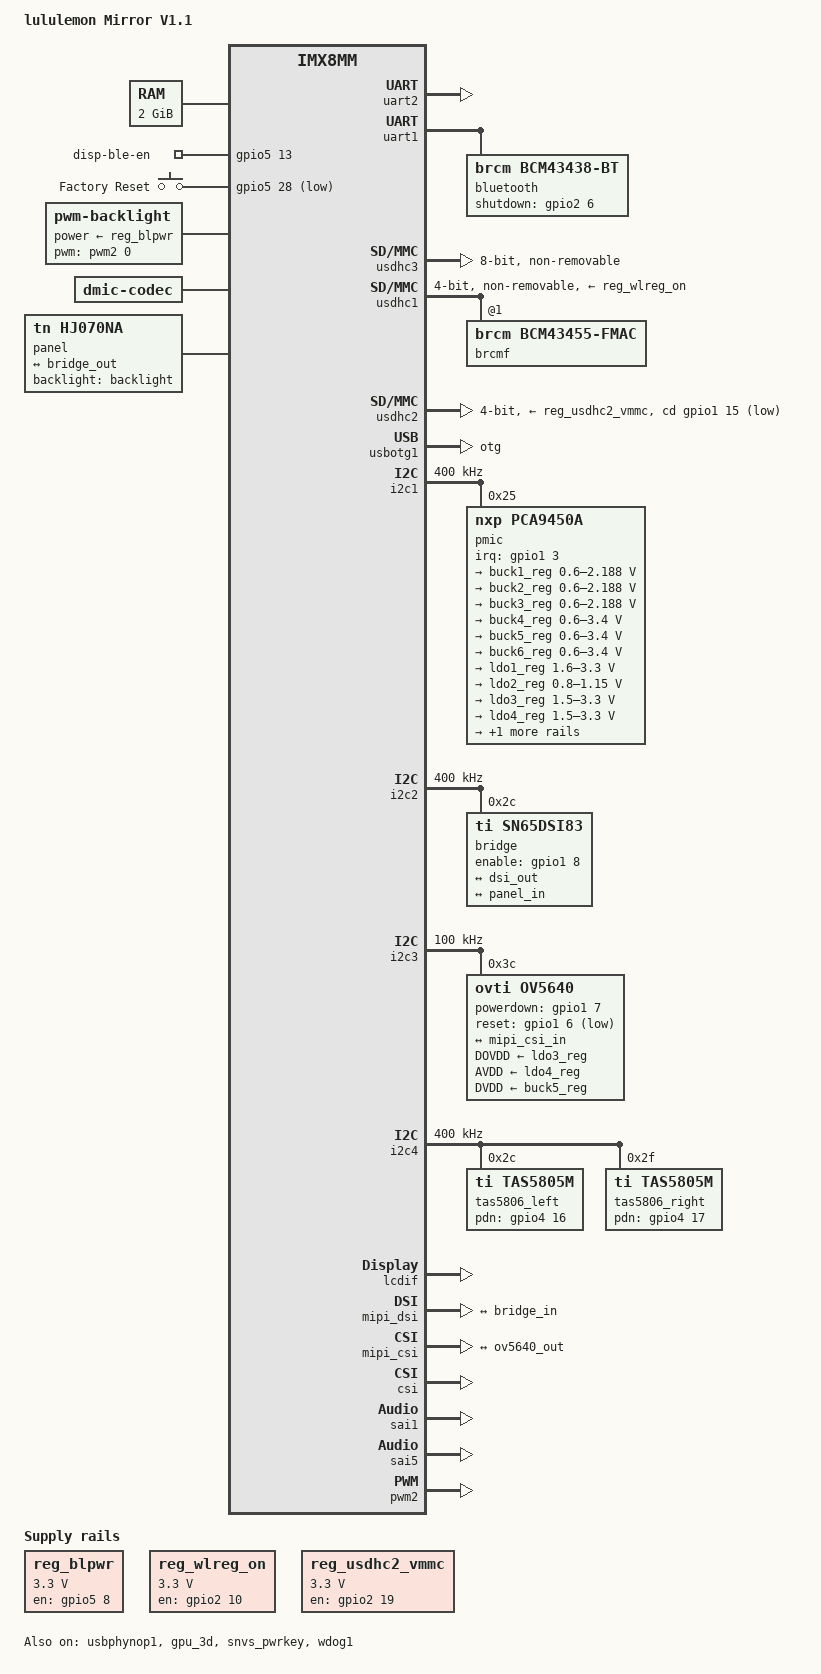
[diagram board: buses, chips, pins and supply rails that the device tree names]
// SPDX-License-Identifier: (GPL-2.0+ OR MIT)
/*
 * lululemon Mirror V1.1 (i.MX 8M Mini "Mirror V1.1 EVT rev A0B")
 *
 * Ported from OUR unit's stock device tree (work/B2_our_dts/our_dtbo_a.dts,
 * byte-identical decode of dtbo_a) to MAINLINE bindings — per work/B4_our_dt_map.md.
 * All GPIO numbers below are HARDWARE bank names (B4 header note):
 *   gpio@30200000=GPIO1 .. gpio@30240000=GPIO5.
 *
 * Provenance tags:
 *   [B4]        = value from our own decoded DT (source of truth)
 *   BORROWED    = standard/mainline value B4 lacks — VERIFY AT FIRST BOOT
 *
 * Deliberately NOT ported (mainline driver computes them or binding lacks them):
 *   - SN65DSI84 43-register init table (sn65dsi84,addresses/values, our_dtbo_a.dts
 *     L1323-1324): the mainline ti-sn65dsi83 driver derives its register setup
 *     from the panel timings; the binding (ti,sn65dsi83.yaml) has no reg-table
 *     property. Table preserved in B4 for bench comparison if the panel misbehaves.
 *   - PCA9450 buck2 I2C-DVS props (pca9450,pmic-buck2-*): vendor-only, no mainline
 *     binding equivalent.
 *   - TAS5806 fault-gpios/IRQ/codec-mclk: mainline ti,tas5805m binding is
 *     i2c + #sound-dai-cells only; amp enables carried as fixed regulators below.
 *   - FEC: node left disabled — board has no PHY (B4 §14, dead RJ45).
 */

/dts-v1/;

#include <dt-bindings/clock/imx8mm-clock.h>
#include <dt-bindings/gpio/gpio.h>
#include <dt-bindings/input/input.h>
#include <dt-bindings/leds/common.h>
#include <dt-bindings/pwm/pwm.h>
#include "imx8mm.dtsi"

/ {
	model = "lululemon Mirror V1.1";
	compatible = "lululemon,mirror-v1.1", "fsl,imx8mm";

	/* B4 §16: memory@40000000 2 GiB */
	memory@40000000 {
		device_type = "memory";
		reg = <0x0 0x40000000 0 0x80000000>;
	};

	chosen {
		/* B4 §1: console = ttymxc1 (UART2 @0x30890000). aliases serial1 = &uart2 */
		stdout-path = "serial1:115200n8";
	};

	/* B4 §7: DISP_BLE_EN LED GPIO5_IO13 active-high, default on */
	leds {
		compatible = "gpio-leds";
		pinctrl-names = "default";
		pinctrl-0 = <&pinctrl_gpio_led>;

		led-ble-en {
			label = "disp-ble-en";
			gpios = <&gpio5 13 GPIO_ACTIVE_HIGH>;
			default-state = "on";
		};
	};

	/* B4 §11: Factory-Reset key GPIO5_IO28 active-low, code 121 (0x79), 50 ms */
	gpio-keys {
		compatible = "gpio-keys";
		pinctrl-names = "default";
		pinctrl-0 = <&pinctrl_factory_reset>;

		key-factory-reset {
			label = "Factory Reset";
			gpios = <&gpio5 28 GPIO_ACTIVE_LOW>;
			linux,code = <KEY_F10>;	/* 121 — B4: vendor code 0x79 */
			debounce-interval = <50>;
		};
	};

	/* B4 §7: backlight power rail GPIO5_IO08 active-high, 3.3 V */
	reg_blpwr: regulator-blpwr {
		compatible = "regulator-fixed";
		pinctrl-names = "default";
		pinctrl-0 = <&pinctrl_backlight_pwr>;
		regulator-name = "backlight_pwr";
		regulator-min-microvolt = <3300000>;
		regulator-max-microvolt = <3300000>;
		gpio = <&gpio5 8 GPIO_ACTIVE_HIGH>;
		enable-active-high;
	};

	/* B4 §7: PWM2 backlight, 1 kHz period (pwms cell 3 = PWM_POLARITY_INVERTED
	 * in vendor tuple 0x01) — vendor: pwms = <pwm2 0 1000000 1> */
	backlight: backlight {
		compatible = "pwm-backlight";
		pwms = <&pwm2 0 1000000 PWM_POLARITY_INVERTED>;
		brightness-levels = <0 1 2 3 4 5 6 7 8 9 10 11 12 13 14 15 16
				     17 18 19 20 21 22 23 24 25 26 27 28 29 30 31
				     32 33 34 35 36 37 38 39 40 41 42 43 44 45 46 47
				     48 49 50 51 52 53 54 55 56 57 58 59 60 61 62 63
				     64 65 66 67 68 69 70 71 72 73 74 75 76 77 78 79
				     80 81 82 83 84 85 86 87 88 89 90 91 92 93 94 95
				     96 97 98 99 100>;
		/* B4 §7: vendor default level 0x50 = 80 */
		default-brightness-level = <80>;
		power-supply = <&reg_blpwr>;
		status = "okay";
	};

	/* B4 §5: WL_REG_ON GPIO2_IO10 active-high 1.8 V, off-on-delay 0x4e20 = 20 ms */
	reg_wlreg_on: regulator-wlreg-on {
		compatible = "regulator-fixed";
		pinctrl-names = "default";
		pinctrl-0 = <&pinctrl_wlreg_on>;
		regulator-name = "wlreg_on";
		regulator-min-microvolt = <3300000>; /* BENCH-D6b: CYW43455 SDIO needs 3V3 signaling */
		regulator-max-microvolt = <3300000>;
		gpio = <&gpio2 10 GPIO_ACTIVE_HIGH>;
		enable-active-high;
		off-on-delay-us = <20000>;
	};

	/* B4 §6: VSD_3V3 GPIO2_IO19 active-high, off-on-delay-us 0x4e20 = 20 ms */
	reg_usdhc2_vmmc: regulator-vsd-3v3 {
		compatible = "regulator-fixed";
		pinctrl-names = "default";
		pinctrl-0 = <&pinctrl_usdhc2_vmmc>;
		regulator-name = "VSD_3V3";
		regulator-min-microvolt = <3300000>;
		regulator-max-microvolt = <3300000>;
		gpio = <&gpio2 19 GPIO_ACTIVE_HIGH>;
		enable-active-high;
		off-on-delay-us = <20000>;
	};

	/* B4 §8: DMIC on SAI5 — model as a generic DMIC DAI for the capture link */
	dmic: dmic-codec {
		compatible = "dmic-codec";
		#sound-dai-cells = <0>;
	};

	/*
	 * B4 §8: "sound-tas5806" card — cpu SAI1 (mclk 49.152 MHz), codecs both
	 * TAS5806 amps, mic on SAI5 async. Mainline choice: fsl,imx-audio-card
	 * (SND_SOC_IMX_CARD / sound/soc/fsl/imx-card.c) — it is the mainline
	 * descendant of NXP's tas5806/imx card family and supports multi-codec
	 * dai-links + routing; simple-card lacks the cpu/codec-subnode link style.
	 */
	sound-tas5806 {
		compatible = "fsl,imx-audio-card";
		model = "tas5806-audio";

		/* BENCH-D4b: NXP legacy routing dropped - mainline tas5805m
		 * widgets are DAC IN/DAC/OUT; vendor names SPKOUTL etc dont exist. */

		pri-dai-link {
			link-name = "tas5806-playback";
			format = "i2s";
			/* D4 fix: 2-slot TDM, 16-bit slot width (vendor-exact — their
			 * DSP program configures the amp serial port for 16-bit
			 * slots; codec driver now accepts S16 too). */
			dai-tdm-slot-num = <2>;
			dai-tdm-slot-width = <16>;
			cpu {
				sound-dai = <&sai1>;
			};
			codec {
				sound-dai = <&tas5806_left>, <&tas5806_right>;
			};
		};

		mic-dai-link {
			link-name = "dmic-capture";
			format = "i2s";
			capture-only;
			cpu {
				sound-dai = <&sai5>;
			};
			codec {
				sound-dai = <&dmic>;
			};
		};
	};

	/* TODO (Phase 2 bench): BT SCO card on SAI2 (B4 §8: sound-bt-sco,
	 * cpu sai@30020000, i2s, bitclock-master = codec side, TDM 2x16).
	 * Left out of this build: bt-sco codec wiring is only useful once the
	 * CYW43455 HCI link is up; enable with a simple-audio-card node then. */

	/* TODO (Phase 2 bench): touch IC — Novatek NT11003 (B4 §12 / B3
	 * vendor usr/idc/Novatek_NT11003_Touch_Screen.idc). NO DT node exists in
	 * the vendor tree and NO I2C address is known — DO NOT GUESS. Plan: probe
	 * I2C1-4 live from the stock U-Boot shell / first Linux boot, then add:
	 *
	 * touchscreen@XX {
	 *     compatible = "novatek,nt11003";
	 *     reg = <0xXX>;
	 *     interrupts = <&gpio1 9 IRQ_TYPE_EDGE_FALLING>;	// GPIO1_IO09 pad (synaptics_dsx_iogrp)
	 * };
	 */

	reserved-memory {
		#address-cells = <2>;
		#size-cells = <2>;
		/* 2026-10-31: mandatory empty ranges. Without it the kernel rejected
		 * this WHOLE node ("Reserved memory: unsupported node format,
		 * ignoring"): rpmsg + U-Boot OP-TEE no-map regions were not honoured
		 * and the 128 MiB CMA below was inert (video output could not
		 * allocate scan-out buffers from the 32 MiB default pool). */
		ranges;
		/* B4 §16: rpmsg@b8000000 4 MiB (kept even though rpmsg is unused —
		 * Trusty/TEE is not loaded in our chain, but reserve to be safe) */
		rpmsg_reserved: rpmsg@b8000000 {
			no-map;
			reg = <0 0xb8000000 0 0x400000>;
		};

		/* D10 camera hub (2026-10-31): default CMA 32 MiB -> 128 MiB. 1080p
		 * capture left ~2 MiB free (5 MP failed outright). "reusable" =
		 * movable pages (normal/ML memory) may use it when idle. */
		linux,cma {
			compatible = "shared-dma-pool";
			reusable;
			size = <0 0x8000000>;
			linux,cma-default;
		};
	};
};

/* Console — B4 §1: UART2, no rtscts, no DMA */
&uart2 {
	pinctrl-names = "default";
	pinctrl-0 = <&pinctrl_uart2>;
	status = "okay";
};

/* B4 §2: UART1 = BT HCI /dev/ttymxc0, RTS/CTS on UART3 pads, BT_REG_ON
 * GPIO2_IO06 active-low (reset 2 ms + 40 ms post). Mainline: hci-bcm serdev. */
&uart1 {
	pinctrl-names = "default";
	pinctrl-0 = <&pinctrl_uart1>;
	uart-has-rtscts;
	status = "okay";
	/* D7 fix (vendor dtbo serial@30860000): re-parent UART1 root clock to
	 * SYS_PLL1_80M (imx8mm-clock.h id 49; default OSC_24M parent cannot
	 * cleanly divide to 3 Mbaud for the BCM4345C0). */
	assigned-clocks = <&clk IMX8MM_CLK_UART1>;	/* the mux; _ROOT is only a gate */
	assigned-clock-parents = <&clk IMX8MM_SYS_PLL1_80M>;

	bluetooth {
		/* CYW43455 = BCM4345C0 chip (B3 patchram
		 * BCM4345C0_003.001.025.0172.0000_Murata_1MW_Arrow.hcd) */
		compatible = "brcm,bcm43438-bt";
		/* BT_REG_ON: high = chip on. hci_bcm drives logical 1 to power on; the
		 * vendor rfkill driver ignored the DT's active-low flag and drove it raw. */
		shutdown-gpios = <&gpio2 6 GPIO_ACTIVE_HIGH>;
		max-speed = <3000000>;
		/* BORROWED (brcm,bcm43438-bt generic + max-speed) — VERIFY AT FIRST BOOT;
		 * hci_bcm loads the .hcd via /lib/firmware/brcm/BCM4345C0.hcd naming */
	};
};

/* B4 §4: eMMC on usdhc3 (mmc dev 2), 14.6 GiB, 8-bit */
&usdhc3 {
	pinctrl-names = "default", "state_100mhz", "state_200mhz";
	pinctrl-0 = <&pinctrl_usdhc3>;
	pinctrl-1 = <&pinctrl_usdhc3_100mhz>;
	pinctrl-2 = <&pinctrl_usdhc3_200mhz>;
	bus-width = <8>;
	non-removable;
	status = "okay";
};

/* B4 §5: WiFi SDIO on usdhc1, CYW43455 (brcmfmac, modular), WL_REG_ON GPIO2_IO10 */
&usdhc1 {
	#address-cells = <1>;
	#size-cells = <0>;
	pinctrl-names = "default", "state_100mhz", "state_200mhz";
	/* BENCH-D6 FIX: wlreg_on removed from usdhc1 - regulator owns the pad */
	pinctrl-0 = <&pinctrl_usdhc1>;
	pinctrl-1 = <&pinctrl_usdhc1_100mhz>;
	pinctrl-2 = <&pinctrl_usdhc1_200mhz>;
	bus-width = <4>;
	non-removable;
	keep-power-in-suspend;
	vmmc-supply = <&reg_wlreg_on>;
	status = "okay";

	brcmf: wifi@1 {
		reg = <1>;
		compatible = "brcm,bcm43455-fmac", "brcm,bcm4329-fmac";
	};
};

/* B4 §6: SD slot on usdhc2, CD GPIO1_IO15 active-low, VSD_3V3 */
&usdhc2 {
	pinctrl-names = "default", "state_100mhz", "state_200mhz";
	pinctrl-0 = <&pinctrl_usdhc2>;
	pinctrl-1 = <&pinctrl_usdhc2_100mhz>;
	pinctrl-2 = <&pinctrl_usdhc2_200mhz>;
	cd-gpios = <&gpio1 15 GPIO_ACTIVE_LOW>;
	vmmc-supply = <&reg_usdhc2_vmmc>;
	bus-width = <4>;
	no-sdio;
	no-mmc;
	status = "okay";
};

/* B4 §13: OTG1 = micro-USB J3 (ADB/ums port) */
&usbotg1 {
	dr_mode = "otg";
	hnp-disable;
	srp-disable;
	adp-disable;
	disable-over-current;
	status = "okay";
};

&usbphynop1 {
	wakeup-source;
	status = "okay";
};

/* B4 §10: PMIC PCA9450 on I2C1 @0x25 */
&i2c1 {
	clock-frequency = <400000>;
	pinctrl-names = "default";
	pinctrl-0 = <&pinctrl_i2c1>;
	status = "okay";

	pmic: pmic@25 {
		/* Variant suffix unverified (vendor DT says only "nxp,pca9450");
		 * 8M Mini EVK ships pca9450a — BORROWED, VERIFY AT FIRST BOOT. */
		compatible = "nxp,pca9450a";
		reg = <0x25>;
		pinctrl-names = "default";
		pinctrl-0 = <&pinctrl_pmic>;
		interrupt-parent = <&gpio1>;
		interrupts = <3 IRQ_TYPE_LEVEL_LOW>;	/* B4 §10: GPIO1_IO03 */

		regulators {
			/* Ranges are OUR unit's (B4 §10, our_dtbo_a.dts L1200-1298):
			 * buck1-3: 0.6-2.1875 V, buck4-6: 0.6-3.4 V, ldo1: 1.6-3.3 V,
			 * ldo2: max 1.15 V, ldo3/4: max 3.3 V (vendor min cells decode
			 * empty — standard 1.5 V used: BORROWED), ldo5: 1.8-3.3 V. */
			buck1_reg: BUCK1 {
				regulator-name = "BUCK1";
				regulator-min-microvolt = <600000>;
				regulator-max-microvolt = <2187500>;
				regulator-boot-on;
				regulator-always-on;
				regulator-ramp-delay = <3125>;	/* vendor 0xc35 */
			};

			buck2_reg: BUCK2 {	/* VDD_ARM, I2C-DVS'd in vendor */
				regulator-name = "BUCK2";
				regulator-min-microvolt = <600000>;
				regulator-max-microvolt = <2187500>;
				regulator-boot-on;
				regulator-always-on;
				regulator-ramp-delay = <3125>;
			};

			buck3_reg: BUCK3 {
				regulator-name = "BUCK3";
				regulator-min-microvolt = <600000>;
				regulator-max-microvolt = <2187500>;
				regulator-boot-on;
				regulator-always-on;
			};

			buck4_reg: BUCK4 {
				regulator-name = "BUCK4";
				regulator-min-microvolt = <600000>;
				regulator-max-microvolt = <3400000>;
				regulator-boot-on;
				regulator-always-on;
			};

			buck5_reg: BUCK5 {
				regulator-name = "BUCK5";
				regulator-min-microvolt = <600000>;
				regulator-max-microvolt = <3400000>;
				regulator-boot-on;
				regulator-always-on;
			};

			buck6_reg: BUCK6 {
				regulator-name = "BUCK6";
				regulator-min-microvolt = <600000>;
				regulator-max-microvolt = <3400000>;
				regulator-boot-on;
				regulator-always-on;
			};

			ldo1_reg: LDO1 {
				regulator-name = "LDO1";
				regulator-min-microvolt = <1600000>;
				regulator-max-microvolt = <3300000>;
				regulator-boot-on;
				regulator-always-on;
			};

			ldo2_reg: LDO2 {
				regulator-name = "LDO2";
				regulator-min-microvolt = <800000>;	/* BORROWED min */
				regulator-max-microvolt = <1150000>;
				regulator-boot-on;
				regulator-always-on;
			};

			ldo3_reg: LDO3 {
				regulator-name = "LDO3";
				regulator-min-microvolt = <1500000>;	/* BORROWED min */
				regulator-max-microvolt = <3300000>;
				regulator-boot-on;
				regulator-always-on;
			};

			ldo4_reg: LDO4 {
				regulator-name = "LDO4";
				regulator-min-microvolt = <1500000>;	/* BORROWED min */
				regulator-max-microvolt = <3300000>;
				regulator-boot-on;
				regulator-always-on;
			};

			ldo5_reg: LDO5 {
				regulator-name = "LDO5";
				regulator-min-microvolt = <3300000>; /* BENCH-D6b: CYW43455 SDIO needs 3V3 signaling */
				regulator-max-microvolt = <3300000>;
			};
		};
	};
};

/* B4 §7: SN65DSI84 DSI→LVDS bridge on I2C2 @0x2c, enable GPIO1_IO08 */
&i2c2 {
	clock-frequency = <400000>;
	pinctrl-names = "default";
	pinctrl-0 = <&pinctrl_i2c2>;
	status = "okay";

	bridge: bridge@2c {
		/* NOTE: mainline driver/binding use the sn65dsi83 compatible for
		 * the SN65DSI84 too (ti-sn65dsi83.c handles both). */
		compatible = "ti,sn65dsi83";
		reg = <0x2c>;
		pinctrl-names = "default";
		pinctrl-0 = <&pinctrl_mipi_dsi_en>;
		enable-gpios = <&gpio1 8 GPIO_ACTIVE_HIGH>;
		/* D3 fix: vendor LVDS output-stage override — panel only locks
		 * with the vendor dtbo register values (0x0b=0x28 etc.),
		 * see work/D3_vendor_bridge_table.md */
		ti,lvds-vendor-override;

		ports {
			#address-cells = <1>;
			#size-cells = <0>;

			port@0 {
				reg = <0>;

				bridge_in: endpoint {
					remote-endpoint = <&dsi_out>;
					data-lanes = <1 2 3 4>;	/* B4: 4 DSI lanes */
				};
			};

			port@2 {
				reg = <2>;

				bridge_out: endpoint {
					remote-endpoint = <&panel_in>;
				};
			};
		};
	};
};

/* B4 §9: OV5640 on I2C3 @0x3c (100 kHz bus) */
&i2c3 {
	clock-frequency = <100000>;
	pinctrl-names = "default";
	pinctrl-0 = <&pinctrl_i2c3>;
	status = "okay";

	ov5640: camera@3c {
		compatible = "ovti,ov5640";
		reg = <0x3c>;
		pinctrl-names = "default";
		pinctrl-0 = <&pinctrl_csi_pwn>, <&pinctrl_csi_rst>;
		/* B4 §9: MCLK 24 MHz routed out on GPIO1_IO01 pad
		 * (ANAMIX_REF_CLK_24M) — BORROWED xclk wiring, VERIFY */
		clocks = <&clk IMX8MM_CLK_24M>;
		clock-names = "xclk";
		powerdown-gpios = <&gpio1 7 GPIO_ACTIVE_HIGH>;	/* pwn GPIO1_IO07 */
		reset-gpios = <&gpio1 6 GPIO_ACTIVE_LOW>;	/* rst GPIO1_IO06 */
		DOVDD-supply = <&ldo3_reg>;	/* BORROWED rails — VERIFY */
		AVDD-supply = <&ldo4_reg>;
		DVDD-supply = <&buck5_reg>;

		port {
			ov5640_out: endpoint {
				remote-endpoint = <&mipi_csi_in>;
				clock-lanes = <0>;
				data-lanes = <1 2>;		/* B4: 2-lane CSI */
			};
		};
	};
};

/* B4 §8: 2x TAS5806M on I2C4 @0x2c/@0x2f */
&i2c4 {
	clock-frequency = <400000>;
	pinctrl-names = "default";
	pinctrl-0 = <&pinctrl_i2c4>;
	status = "okay";

	tas5806_left: amplifier@2c {
		compatible = "ti,tas5805m";
		reg = <0x2c>;
		#sound-dai-cells = <0>;
		/* B4 §8: enable GPIO4_IO16 active-high == PDN (active-low power-down).
		 * tas5805m.c drives pdn logical 0 (physical high = ON) at probe. */
		pdn-gpios = <&gpio4 16 GPIO_ACTIVE_HIGH>;
		/* D4 fix: vendor DSP table (tweeters, sha 510a1456...) — plain
		 * {reg,val} pairs + 0xfe delays; send_cfg default path handles. */
		ti,dsp-config-name = "tweeters";
	};

	tas5806_right: amplifier@2f {
		compatible = "ti,tas5805m";
		reg = <0x2f>;
		#sound-dai-cells = <0>;
		pdn-gpios = <&gpio4 17 GPIO_ACTIVE_HIGH>;
		/* D4 fix: vendor DSP table (woofers, sha 6a01cc29...) */
		ti,dsp-config-name = "woofers";
	};
};

/* B4 §7: display pipeline — lcdif → DSIM (4 lane) → SN65DSI84 → LVDS panel.
 * Dumb LVDS panel behind the bridge: panel-lvds with the vendor hj070na
 * timings (148.5 MHz 1920x1080@60). */
&lcdif {
	status = "okay";
};

&mipi_dsi {
	samsung,esc-clock-frequency = <20000000>;	/* BORROWED esc clock */
	status = "okay";

	ports {
		port@1 {
			reg = <1>;

			dsi_out: endpoint {
				remote-endpoint = <&bridge_in>;
				data-lanes = <1 2 3 4>;
			};
		};
	};
};

/* B4 §9: MIPI CSI-2 receiver (fsl,imx8mm-mipi-csi2) */
&mipi_csi {
	status = "okay";

	ports {
		port@0 {
			reg = <0>;

			mipi_csi_in: endpoint {
				remote-endpoint = <&ov5640_out>;
				data-lanes = <1 2>;
				/* B4: csis-hs-settle 0x0d, clk-settle 0x02 */
			};
		};
	};
};

&csi {
	status = "okay";
};

/* B4 §8: SAI1 = speaker I2S out, MCLK output pad muxed (49.152 MHz).
 * BENCH-D4c FIX (2026-10-31): vendor DT drove codec mclk at 49.152 MHz
 * (B4: MCLK 49.152 MHz on 0x2c assigned-clocks 0x16e1080-adjacent chain).
 * Mainline needs the rate chain on the SAI: audio_pll2 -> 786.432 MHz,
 * SAI1 root div -> 49.152 MHz. Without this MCLK ran from a wrong parent
 * and the TAS5806 DSP never clocked -> silence. */
&sai1 {
	pinctrl-names = "default";
	pinctrl-0 = <&pinctrl_sai1>;
	fsl,sai-mclk-direction-output;
	#sound-dai-cells = <0>;
	/* D4 fix (vendor dtbo sai@30010000): full clock spec — bus/mclk1-3
	 * from dtsi + pll8k/pll11k (AUDIO_PLL1_OUT/PLL2_OUT) so the driver
	 * can fsl_asoc_reparent_pll_clocks() the root to an audio PLL.
	 * Without these the root stays on osc_24m and BCLK derive fails
	 * (the -22 hw_params errors we chased all night). Vendor rates:
	 * SAI1 root 49.152 MHz (via reparent to pll_out). */
	clocks = <&clk IMX8MM_CLK_SAI1_IPG>, <&clk IMX8MM_CLK_DUMMY>,
		 <&clk IMX8MM_CLK_SAI1_ROOT>, <&clk IMX8MM_CLK_DUMMY>,
		 <&clk IMX8MM_CLK_DUMMY>,
		 <&clk IMX8MM_AUDIO_PLL1_OUT>, <&clk IMX8MM_AUDIO_PLL2_OUT>;
	clock-names = "bus", "mclk", "mclk1", "mclk2", "mclk3", "pll8k", "pll11k";
	fsl,dataline = <0x02 0xff 0xff 0x02 0xff 0xff>;
	assigned-clocks = <&clk IMX8MM_CLK_SAI1>;
	assigned-clock-parents = <&clk IMX8MM_AUDIO_PLL1_OUT>;
	assigned-clock-rates = <49152000>;
	status = "okay";
};

/* B4 §8: SAI5 = DMIC (asynchronous) */
&sai5 {
	pinctrl-names = "default";
	pinctrl-0 = <&pinctrl_sai5>;
	fsl,sai-asynchronous;
	#sound-dai-cells = <0>;
	/* D5 fix (vendor dtbo sai@30050000 VERBATIM — same as vendor Android):
	 * clocks: bus=SAI5_IPG, mclk0=dummy, mclk1=SAI5_ROOT, mclk2/3=dummy,
	 * pll8k=AUDIO_PLL1_OUT, pll11k=AUDIO_PLL2_OUT.
	 * dataline <0x00 0x0f 0x0f> = 1 rx line, mask 0xf.
	 * assigned: SAI5 root -> AUDIO_PLL1_OUT @ 49.152 MHz. */
	clocks = <&clk IMX8MM_CLK_SAI5_IPG>, <&clk IMX8MM_CLK_DUMMY>,
		 <&clk IMX8MM_CLK_SAI5_ROOT>, <&clk IMX8MM_CLK_DUMMY>,
		 <&clk IMX8MM_CLK_DUMMY>,
		 <&clk IMX8MM_AUDIO_PLL1_OUT>, <&clk IMX8MM_AUDIO_PLL2_OUT>;
	clock-names = "bus", "mclk0", "mclk1", "mclk2", "mclk3", "pll8k", "pll11k";
	fsl,dataline = <0x00 0x0f 0x0f>;
	/* D5 FIX (2026-10-31): MCR.MOE=1. With MOE=0 this SAI takes MCLK1
	 * from the (undriven) SAI5_MCLK pad -> RX clock generator never runs
	 * (RCSR WSF=0, no DMA, arecord EIO after 1.1x buffer time). Proven
	 * live by poking MCR bit30: frames + DMA + clean voice capture. */
	fsl,sai-mclk-direction-output;
	assigned-clocks = <&clk IMX8MM_CLK_SAI5>;
	assigned-clock-parents = <&clk IMX8MM_AUDIO_PLL1_OUT>;
	assigned-clock-rates = <49152000>;
	status = "okay";
};

/* B4 §8: SAI2 = BT SCO (pads muxed, card deferred — see TODO above) */
&sai2 {
	pinctrl-names = "default";
	pinctrl-0 = <&pinctrl_sai2>;
	#sound-dai-cells = <0>;
	status = "disabled";
};

/* GPU was "okay" in our stock DT (B4 §15); etnaviv works mainline */
&gpu_3d {
	status = "okay";
};

/* fec left disabled: no PHY on board (B4 §14) */

&pwm2 {
	pinctrl-names = "default";
	pinctrl-0 = <&pinctrl_dsi_pwm>;
	status = "okay";
};

&iomuxc {
	/* Every tuple: raw values from our_dtbo_a.dts, resolved against the
	 * mainline imx8mm-pinfunc.h bundled with this kernel tree (see
	 * work/B4_pinfunc_decode.txt). Vendor mux modes with the 0x10 SION
	 * bit set are ported as the plain mainline mode. */

	pinctrl_uart1: uart1grp {
		fsl,pins = <
			MX8MM_IOMUXC_UART1_RXD_UART1_DCE_RX		0x140
			MX8MM_IOMUXC_UART1_TXD_UART1_DCE_TX		0x140
			/* UART3 pads muxed as UART1 RTS/CTS (B4 §2) */
			MX8MM_IOMUXC_UART3_RXD_UART1_DCE_CTS_B	0x140
			MX8MM_IOMUXC_UART3_TXD_UART1_DCE_RTS_B	0x140
			/* BT_REG_ON GPIO2_IO06 (pad SD1_DATA4, mode 5) */
			MX8MM_IOMUXC_SD1_DATA4_GPIO2_IO6		0x19
		>;
	};

	pinctrl_uart2: uart2grp {
		fsl,pins = <
			MX8MM_IOMUXC_UART2_RXD_UART2_DCE_RX	0x140
			MX8MM_IOMUXC_UART2_TXD_UART2_DCE_TX	0x140
		>;
	};

	pinctrl_i2c1: i2c1grp {
		fsl,pins = <
			MX8MM_IOMUXC_I2C1_SCL_I2C1_SCL		0x400001c3
			MX8MM_IOMUXC_I2C1_SDA_I2C1_SDA		0x400001c3
		>;
	};

	pinctrl_pmic: pmicirqgrp {
		fsl,pins = <
			MX8MM_IOMUXC_GPIO1_IO03_GPIO1_IO3	0x41
		>;
	};

	pinctrl_i2c2: i2c2grp {
		fsl,pins = <
			MX8MM_IOMUXC_I2C2_SCL_I2C2_SCL		0x400001c3
			MX8MM_IOMUXC_I2C2_SDA_I2C2_SDA		0x400001c3
		>;
	};

	pinctrl_i2c3: i2c3grp {
		fsl,pins = <
			MX8MM_IOMUXC_I2C3_SCL_I2C3_SCL		0x400001c3
			MX8MM_IOMUXC_I2C3_SDA_I2C3_SDA		0x400001c3
		>;
	};

	pinctrl_i2c4: i2c4grp {
		fsl,pins = <
			MX8MM_IOMUXC_I2C4_SCL_I2C4_SCL		0x400001c3
			MX8MM_IOMUXC_I2C4_SDA_I2C4_SDA		0x400001c3
		>;
	};

	pinctrl_mipi_dsi_en: mipidsiengrp {
		fsl,pins = <
			/* bridge enable GPIO1_IO08 (B4 §7) */
			MX8MM_IOMUXC_GPIO1_IO08_GPIO1_IO8	0x19
		>;
	};

	pinctrl_gpio_led: gpioledgrp {
		fsl,pins = <
			/* DISP_BLE_EN GPIO5_IO13 (B4 §7) */
			MX8MM_IOMUXC_ECSPI2_SS0_GPIO5_IO13	0x19
		>;
	};

	pinctrl_factory_reset: keygrp {
		fsl,pins = <
			/* Factory-Reset GPIO5_IO28 (B4 §11, pad UART4_RXD) */
			MX8MM_IOMUXC_UART4_RXD_GPIO5_IO28		0x1c6
		>;
	};

	pinctrl_wlreg_on: usdhc1-gpiogrp {
		fsl,pins = <
			/* WL_REG_ON GPIO2_IO10 (B4 §5, pad SD1_RESET_B mode 5) */
			MX8MM_IOMUXC_SD1_RESET_B_GPIO2_IO10		0x41
		>;
	};

	pinctrl_wlan: wlangrp {
		fsl,pins = <
			/* 32 kHz sleep clock to CYW module (GPIO1_IO00 pad) */
			MX8MM_IOMUXC_GPIO1_IO00_ANAMIX_REF_CLK_32K	0x141
			/* module status/OOB GPIO2_IO09 (pad SD1_DATA7) */
			MX8MM_IOMUXC_SD1_DATA7_GPIO2_IO9	0x111
		>;
	};

	pinctrl_usdhc1: usdhc1grp {
		fsl,pins = <
			MX8MM_IOMUXC_SD1_CLK_USDHC1_CLK		0x190
			MX8MM_IOMUXC_SD1_CMD_USDHC1_CMD		0x1d0
			MX8MM_IOMUXC_SD1_DATA0_USDHC1_DATA0	0x1d0
			MX8MM_IOMUXC_SD1_DATA1_USDHC1_DATA1	0x1d0
			MX8MM_IOMUXC_SD1_DATA2_USDHC1_DATA2	0x1d0
			MX8MM_IOMUXC_SD1_DATA3_USDHC1_DATA3	0x1d0
		>;
	};

	pinctrl_usdhc1_100mhz: usdhc1-100mhzgrp {
		fsl,pins = <
			MX8MM_IOMUXC_SD1_CLK_USDHC1_CLK		0x194
			MX8MM_IOMUXC_SD1_CMD_USDHC1_CMD		0x1d4
			MX8MM_IOMUXC_SD1_DATA0_USDHC1_DATA0	0x1d4
			MX8MM_IOMUXC_SD1_DATA1_USDHC1_DATA1	0x1d4
			MX8MM_IOMUXC_SD1_DATA2_USDHC1_DATA2	0x1d4
			MX8MM_IOMUXC_SD1_DATA3_USDHC1_DATA3	0x1d4
		>;
	};

	pinctrl_usdhc1_200mhz: usdhc1-200mhzgrp {
		fsl,pins = <
			MX8MM_IOMUXC_SD1_CLK_USDHC1_CLK		0x196
			MX8MM_IOMUXC_SD1_CMD_USDHC1_CMD		0x1d6
			MX8MM_IOMUXC_SD1_DATA0_USDHC1_DATA0	0x1d6
			MX8MM_IOMUXC_SD1_DATA1_USDHC1_DATA1	0x1d6
			MX8MM_IOMUXC_SD1_DATA2_USDHC1_DATA2	0x1d6
			MX8MM_IOMUXC_SD1_DATA3_USDHC1_DATA3	0x1d6
		>;
	};

	pinctrl_usdhc2: usdhc2grp {
		fsl,pins = <
			MX8MM_IOMUXC_SD2_CLK_USDHC2_CLK		0x190
			MX8MM_IOMUXC_SD2_CMD_USDHC2_CMD		0x1d0
			MX8MM_IOMUXC_SD2_DATA0_USDHC2_DATA0	0x1d0
			MX8MM_IOMUXC_SD2_DATA1_USDHC2_DATA1	0x1d0
			MX8MM_IOMUXC_SD2_DATA2_USDHC2_DATA2	0x1d0
			MX8MM_IOMUXC_SD2_DATA3_USDHC2_DATA3	0x1d0
			/* 1.8/3.3 V level shift select (GPIO1_IO04 pad) */
			MX8MM_IOMUXC_GPIO1_IO04_USDHC2_VSELECT	0x1d0
		>;
	};

	pinctrl_usdhc2_100mhz: usdhc2-100mhzgrp {
		fsl,pins = <
			MX8MM_IOMUXC_SD2_CLK_USDHC2_CLK		0x194
			MX8MM_IOMUXC_SD2_CMD_USDHC2_CMD		0x1d4
			MX8MM_IOMUXC_SD2_DATA0_USDHC2_DATA0	0x1d4
			MX8MM_IOMUXC_SD2_DATA1_USDHC2_DATA1	0x1d4
			MX8MM_IOMUXC_SD2_DATA2_USDHC2_DATA2	0x1d4
			MX8MM_IOMUXC_SD2_DATA3_USDHC2_DATA3	0x1d4
			MX8MM_IOMUXC_GPIO1_IO04_USDHC2_VSELECT	0x1d0
		>;
	};

	pinctrl_usdhc2_200mhz: usdhc2-200mhzgrp {
		fsl,pins = <
			MX8MM_IOMUXC_SD2_CLK_USDHC2_CLK		0x196
			MX8MM_IOMUXC_SD2_CMD_USDHC2_CMD		0x1d6
			MX8MM_IOMUXC_SD2_DATA0_USDHC2_DATA0	0x1d6
			MX8MM_IOMUXC_SD2_DATA1_USDHC2_DATA1	0x1d6
			MX8MM_IOMUXC_SD2_DATA2_USDHC2_DATA2	0x1d6
			MX8MM_IOMUXC_SD2_DATA3_USDHC2_DATA3	0x1d6
			MX8MM_IOMUXC_GPIO1_IO04_USDHC2_VSELECT	0x1d0
		>;
	};

	pinctrl_usdhc2_vmmc: regusdhc2vmmcgrp {
		fsl,pins = <
			/* VSD_3V3 enable GPIO2_IO19 (pad SD2_RESET_B mode 5) */
			MX8MM_IOMUXC_SD2_RESET_B_GPIO2_IO19	0x41
		>;
	};

	pinctrl_usdhc3: usdhc3grp {
		fsl,pins = <
			/* mainline macro carries the vendor 0x12 (SION|2) mode verbatim */
			MX8MM_IOMUXC_NAND_WE_B_USDHC3_CLK		0x190
			MX8MM_IOMUXC_NAND_WP_B_USDHC3_CMD	0x1d0
			MX8MM_IOMUXC_NAND_DATA04_USDHC3_DATA0	0x1d0
			MX8MM_IOMUXC_NAND_DATA05_USDHC3_DATA1	0x1d0
			MX8MM_IOMUXC_NAND_DATA06_USDHC3_DATA2	0x1d0
			MX8MM_IOMUXC_NAND_DATA07_USDHC3_DATA3	0x1d0
			MX8MM_IOMUXC_NAND_RE_B_USDHC3_DATA4	0x1d0
			MX8MM_IOMUXC_NAND_CE2_B_USDHC3_DATA5	0x1d0
			MX8MM_IOMUXC_NAND_CE3_B_USDHC3_DATA6	0x1d0
			MX8MM_IOMUXC_NAND_CLE_USDHC3_DATA7	0x1d0
			MX8MM_IOMUXC_NAND_CE1_B_USDHC3_STROBE	0x190
		>;
	};

	pinctrl_usdhc3_100mhz: usdhc3-100mhzgrp {
		fsl,pins = <
			MX8MM_IOMUXC_NAND_WE_B_USDHC3_CLK		0x194
			MX8MM_IOMUXC_NAND_WP_B_USDHC3_CMD	0x1d4
			MX8MM_IOMUXC_NAND_DATA04_USDHC3_DATA0	0x1d4
			MX8MM_IOMUXC_NAND_DATA05_USDHC3_DATA1	0x1d4
			MX8MM_IOMUXC_NAND_DATA06_USDHC3_DATA2	0x1d4
			MX8MM_IOMUXC_NAND_DATA07_USDHC3_DATA3	0x1d4
			MX8MM_IOMUXC_NAND_RE_B_USDHC3_DATA4	0x1d4
			MX8MM_IOMUXC_NAND_CE2_B_USDHC3_DATA5	0x1d4
			MX8MM_IOMUXC_NAND_CE3_B_USDHC3_DATA6	0x1d4
			MX8MM_IOMUXC_NAND_CLE_USDHC3_DATA7	0x1d4
			MX8MM_IOMUXC_NAND_CE1_B_USDHC3_STROBE	0x194
		>;
	};

	pinctrl_usdhc3_200mhz: usdhc3-200mhzgrp {
		fsl,pins = <
			MX8MM_IOMUXC_NAND_WE_B_USDHC3_CLK		0x196
			MX8MM_IOMUXC_NAND_WP_B_USDHC3_CMD	0x1d6
			MX8MM_IOMUXC_NAND_DATA04_USDHC3_DATA0	0x1d6
			MX8MM_IOMUXC_NAND_DATA05_USDHC3_DATA1	0x1d6
			MX8MM_IOMUXC_NAND_DATA06_USDHC3_DATA2	0x1d6
			MX8MM_IOMUXC_NAND_DATA07_USDHC3_DATA3	0x1d6
			MX8MM_IOMUXC_NAND_RE_B_USDHC3_DATA4	0x1d6
			MX8MM_IOMUXC_NAND_CE2_B_USDHC3_DATA5	0x1d6
			MX8MM_IOMUXC_NAND_CE3_B_USDHC3_DATA6	0x1d6
			MX8MM_IOMUXC_NAND_CLE_USDHC3_DATA7	0x1d6
			MX8MM_IOMUXC_NAND_CE1_B_USDHC3_STROBE	0x196
		>;
	};

	pinctrl_sai1: sai1grp {
		fsl,pins = <
			MX8MM_IOMUXC_SAI1_MCLK_SAI1_MCLK		0xd6
			MX8MM_IOMUXC_SAI1_TXFS_SAI1_TX_SYNC		0xd6
			MX8MM_IOMUXC_SAI1_RXD7_SAI1_TX_SYNC		0xd6
			MX8MM_IOMUXC_SAI1_TXC_SAI1_TX_BCLK		0xd6
			MX8MM_IOMUXC_SAI1_TXD0_SAI1_TX_DATA0	0xd6
			MX8MM_IOMUXC_SAI1_TXD1_SAI1_TX_DATA1	0xd6
			MX8MM_IOMUXC_SAI1_RXD0_SAI1_RX_DATA0	0xd6
			MX8MM_IOMUXC_SAI1_RXD1_SAI1_RX_DATA1	0xd6
		>;
	};

	pinctrl_sai2: sai2grp {
		fsl,pins = <
			MX8MM_IOMUXC_SAI2_TXC_SAI2_TX_BCLK		0xd6
			MX8MM_IOMUXC_SAI2_TXFS_SAI2_TX_SYNC		0xd6
			MX8MM_IOMUXC_SAI2_TXD0_SAI2_TX_DATA0	0xd6
			MX8MM_IOMUXC_SAI2_RXD0_SAI2_RX_DATA0	0xd6
		>;
	};

	pinctrl_sai5: sai5grp {
		fsl,pins = <
			MX8MM_IOMUXC_SAI5_MCLK_SAI5_MCLK		0xd6
			MX8MM_IOMUXC_SAI5_RXC_SAI5_RX_BCLK		0xd6
			MX8MM_IOMUXC_SAI5_RXFS_SAI5_RX_SYNC		0xd6
			MX8MM_IOMUXC_SAI5_RXD0_SAI5_RX_DATA0	0xd6
		>;
	};

	pinctrl_csi_pwn: csipwngrp {
		fsl,pins = <
			/* OV5640 PWDN GPIO1_IO07 (B4 §9) */
			MX8MM_IOMUXC_GPIO1_IO07_GPIO1_IO7	0x19
		>;
	};

	pinctrl_csi_rst: csirstgrp {
		fsl,pins = <
			/* OV5640 RESET GPIO1_IO06 + 24 MHz MCLK out on GPIO1_IO01 pad */
			MX8MM_IOMUXC_GPIO1_IO06_GPIO1_IO6	0x19
			MX8MM_IOMUXC_GPIO1_IO01_ANAMIX_REF_CLK_24M	0x59
		>;
	};

	pinctrl_backlight_pwr: backlightpwrgrp {
		fsl,pins = <
			/* backlight power GPIO5_IO08 (pad ECSPI1_MISO mode 5) */
			MX8MM_IOMUXC_ECSPI1_MISO_GPIO5_IO8		0x19
		>;
	};

	pinctrl_dsi_pwm: dsipwmgrp {
		fsl,pins = <
			/* backlight PWM on PWM2 (pad SPDIF_RX mode 1) */
			MX8MM_IOMUXC_SPDIF_RX_PWM2_OUT			0x16
		>;
	};

	pinctrl_wdog: wdoggrp {
		fsl,pins = <
			/* watchdog hard-reset line (B4 §15: wdog1 okay, ext-reset) */
			MX8MM_IOMUXC_GPIO1_IO02_WDOG1_WDOG_B		0xc6
		>;
	};

	/* B4 §12: touch IRQ line pad (no touch device node — see TODO above) */
	pinctrl_touch: synapticsdsxgrp {
		fsl,pins = <
			MX8MM_IOMUXC_GPIO1_IO09_GPIO1_IO9		0x19
		>;
	};
};

/* D8: bottom button = SNVS ONOFF pad (owner press test 2026-11-04). Generic key,
 * so nothing on the system reacts to it by default; apps use mirror-buttond.
 * The driver polls the button level (patched snvs_pwrkey): the secure firmware
 * blocks the SNVS LP register writes its interrupt needs. That also makes
 * power-off-time-sec a no-op here: LPCR.BPT stays at its reset value. */
&snvs_pwrkey {
	linux,keycode = <KEY_PROG1>;
	power-off-time-sec = <0>;
	status = "okay";
};

&wdog1 {
	pinctrl-names = "default";
	pinctrl-0 = <&pinctrl_wdog>;
	fsl,ext-reset-output;
	status = "okay";
};

/* LVDS panel behind the SN65DSI84 — vendor timings (B4 §7): hj070na,
 * 148.5 MHz, 1920x1080@60 (hfp 80 hsync 120 hbp 80 / vfp 5 vsync 15 vbp 25).
 * panel-lvds binding: vendor compatible + "panel-lvds" fallback;
 * "tn,hj070na" added to the local panel-lvds enum patch (see C_results). */
/ {
	panel: lvds-panel {
		compatible = "tn,hj070na", "panel-lvds";
		width-mm = <889>;	/* vendor panel-width-mm 0x375 — NXP misuse,
					   B4 §7: tag stays dubious, harmless */
		height-mm = <498>;	/* vendor 0x1f2 */
		data-mapping = "vesa-24";
		backlight = <&backlight>;

		panel-timing {
			clock-frequency = <148500000>;
			hactive = <1920>;
			vactive = <1080>;
			hfront-porch = <80>;
			hsync-len = <120>;
			hback-porch = <80>;
			vfront-porch = <5>;
			vsync-len = <15>;
			vback-porch = <25>;
			hsync-active = <0>;
			vsync-active = <0>;
			de-active = <1>;
			pixelclk-active = <0>;
		};

		port {
			panel_in: endpoint {
				remote-endpoint = <&bridge_out>;
			};
		};
	};
};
